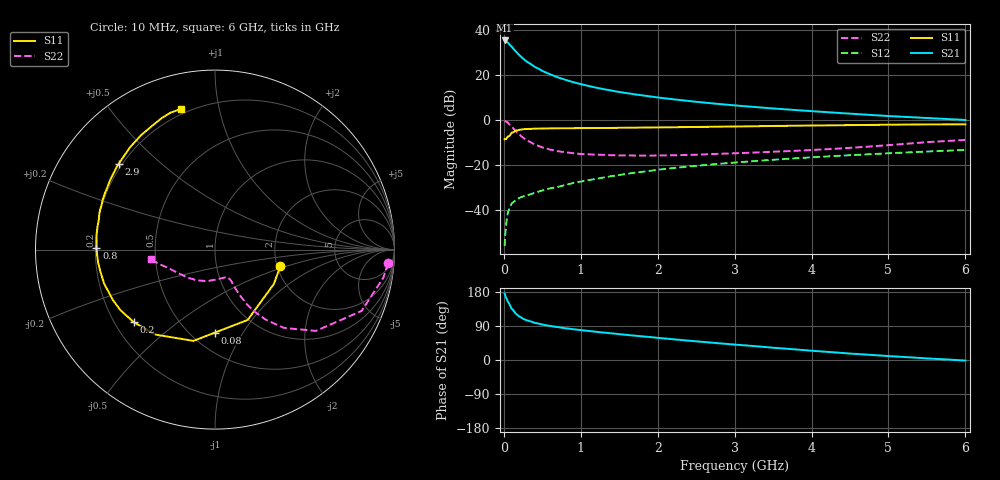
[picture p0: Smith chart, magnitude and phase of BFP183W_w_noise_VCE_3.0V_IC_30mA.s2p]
! (c) 2017  Infineon Technologies AG, Munich
! Infineon Technologies  Discrete & RF Semiconductors
! BFP183W
! VCE =  3.0 V,  IC =  30 mA
! Common Emitter S-Parameters:  Jan 2017
# GHz  S  MA  R  50
!  f  S11  S21  S12  S22
! GHz  MAG  ANG  MAG  ANG  MAG  ANG  MAG  ANG
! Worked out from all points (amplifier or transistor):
!   77 points, 10 MHz to 6 GHz, reference 50 ohm
!   highest |S21| = 35.3 dB at 10 MHz (marker M1)
!   |S21| within 3 dB of that: start of sweep to 108.1 MHz
!   unconditionally stable (mu >= 1): 879.1 MHz to 3.447 GHz
!   at 130 MHz: K = 0.32, MSG = 33.8 dB, |S12| = -36.2 dB
!   at 2.2 GHz: K = 1.07, MAG = 13.7 dB, |S12| = -21.3 dB
!   at 6 GHz: K = 0.88, MSG = 6.6 dB, |S12| = -13.2 dB
!   lowest NFmin = 1.39 dB at 450 MHz
!   S11 on the Smith chart (normalised r, x): 10 MHz: 2.08, -0.45; 80 MHz: 0.65, -0.76; 200 MHz: 0.28, -0.36; 800 MHz: 0.20, +0.01; 2.9 GHz: 0.19, +0.37; 6 GHz: 0.17, +0.78
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0.01  0.3757 -14.3  58.34 175.3  0.0016 92.7  0.9665 -4.5
0.02  0.3798 -30.4  57.5 169.3  0.0031 86.8  0.9514 -9.4
0.05  0.4322 -65.1  52.88 154.8  0.0085 68.8  0.8854 -22.7
0.08  0.462 -89.9  46.21 144.4  0.0118 62.5  0.7795 -31.6
0.1  0.5226 -103.3  42.83 135.8  0.014 60.0  0.7218 -38.9
0.15  0.5791 -125.2  34.11 123.6  0.0166 50.5  0.5801 -48.7
0.2  0.6069 -138.2  27.69 115.1  0.0187 49.4  0.4802 -54.2
0.25  0.626 -147.5  23.14 108.9  0.0203 47.3  0.4081 -57.6
0.3  0.6346 -153.9  19.73 104.6  0.0213 47.0  0.3555 -59.6
0.4  0.6463 -163.0  15.24 98.1  0.0244 48.9  0.2885 -61.5
0.5  0.6504 -169.2  12.34 93.6  0.0275 52.4  0.248 -62.2
0.6  0.6551 -173.7  10.36 89.9  0.0307 54.9  0.2222 -62.6
0.7  0.6576 -177.5  8.904 86.8  0.0329 57.0  0.204 -62.5
0.8  0.6605 179.1  7.823 83.8  0.0365 59.2  0.1936 -62.8
1.1  0.6657 171.2  5.719 76.8  0.0467 61.0  0.1744 -64.9
1.5  0.6753 162.7  4.206 68.3  0.0607 62.4  0.1647 -70.4
2.1  0.6908 151.3  3.035 56.7  0.0827 61.4  0.1648 -83.5
2.9  0.718 138.4  2.193 42.4  0.1108 57.8  0.1812 -105.5
3.1  0.7243 135.4  2.053 39.1  0.1178 56.6  0.1861 -110.9
4.1  0.761 121.8  1.539 23.0  0.1528 50.5  0.2215 -136.7
5.1  0.7922 111.3  1.205 9.2  0.1869 44.1  0.2869 -159.9
6  0.8061 103.4  1.007 -1.5  0.218 37.8  0.3631 -171.5
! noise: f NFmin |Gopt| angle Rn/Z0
0.45  1.39  0.27  180  0.1
0.9  1.43  0.3  -178  0.09
1.9  1.92  0.45  -156  0.1
2.4  2.17  0.5  -152  0.15
